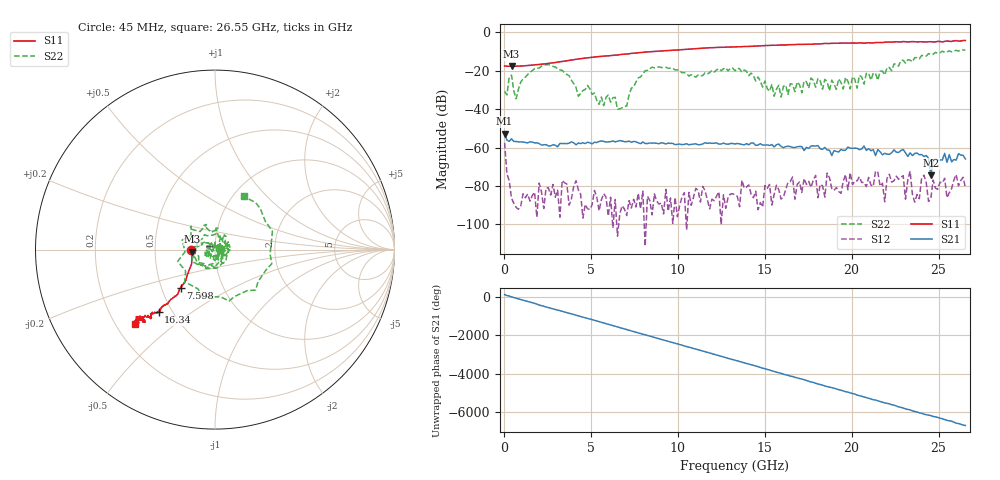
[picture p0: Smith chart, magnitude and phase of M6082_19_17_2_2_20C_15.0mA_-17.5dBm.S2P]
!  2-Port S-parameters saved by WinCal
! VAR MeasName=S-Parameters (CALIBRATED_DATA) read from VNA (C)
! VAR MeasDate=9/29/2015 4:46:15 PM
! VAR NAME=M6082_19_17_2_2_20C_15.0mA_-17.5dBm
! VAR FILENAME=M6082_19_17_2_2_20C_15.0mA_-17.5dBm.S2P
! VAR DATE=9/29/2015 4:46:15 PM
! VAR PHYS_PORTS=2,1
! VAR ObjTypeName=DATASET
! VAR IndexType=Frequency
# Hz S RI R 50
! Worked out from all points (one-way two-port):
!   201 points, 45 MHz to 26.55 GHz, reference 50 ohm
!   highest |S21| = -52.73 dB at 45 MHz (marker M1); lowest = -74.4 dB at 24.56 GHz (marker M2)
!   lowest |S11| = -17.8 dB at 442.5 MHz (marker M3), VSWR 1.30, Z = 38.6 - j0.913 ohm
!   |S11| at or under -10 dB: start of sweep to 8.666 GHz
!   |S22| runs from -40.1 to -9.2 dB; largest |S21 - S12| = 0.0024
!   S11 on the Smith chart (normalised r, x): 45 MHz: 0.77, -0.00; 7.598 GHz: 0.63, -0.29; 16.34 GHz: 0.42, -0.38; 26.55 GHz: 0.28, -0.37
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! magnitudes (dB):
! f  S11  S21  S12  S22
! 45 MHz  -17.6  -52.7  -57.6  -30.8
! 177.5 MHz  -17.7  -56.2  -73.6  -32.7
! 442.5 MHz  -17.8  -55.5  -86.3  -22.4
! 707.5 MHz  -17.7  -56.9  -91.1  -34.7
! 1.105 GHz  -17.6  -57.1  -84.0  -24.4
! 2.43 GHz  -16.4  -58.5  -81.0  -16.9
! 4.55 GHz  -13.7  -57.5  -96.7  -30.4
! 6.537 GHz  -11.9  -56.8  -106.1  -40.1
! 7.598 GHz  -10.9  -57.0  -90.9  -26.0
! 8.922 GHz  -9.9  -58.0  -89.4  -18.0
! 13.29 GHz  -7.7  -58.1  -84.4  -20.1
! 16.34 GHz  -6.6  -59.3  -78.2  -32.4
! 17.8 GHz  -6.3  -59.1  -76.9  -25.1
! 20.32 GHz  -5.7  -60.4  -77.3  -29.2
! 20.45 GHz  -5.6  -61.1  -75.2  -22.5
! 21.38 GHz  -5.4  -64.2  -72.2  -21.5
! 21.91 GHz  -5.3  -63.0  -88.3  -22.3
! 22.17 GHz  -5.2  -63.6  -74.0  -18.4
! 24.29 GHz  -5.1  -64.2  -78.1  -12.5
! 24.56 GHz  -5.0  -74.4  -86.6  -11.5
! 25.35 GHz  -4.8  -63.0  -76.0  -10.5
! 26.55 GHz  -4.4  -65.9  -80.8  -9.5
